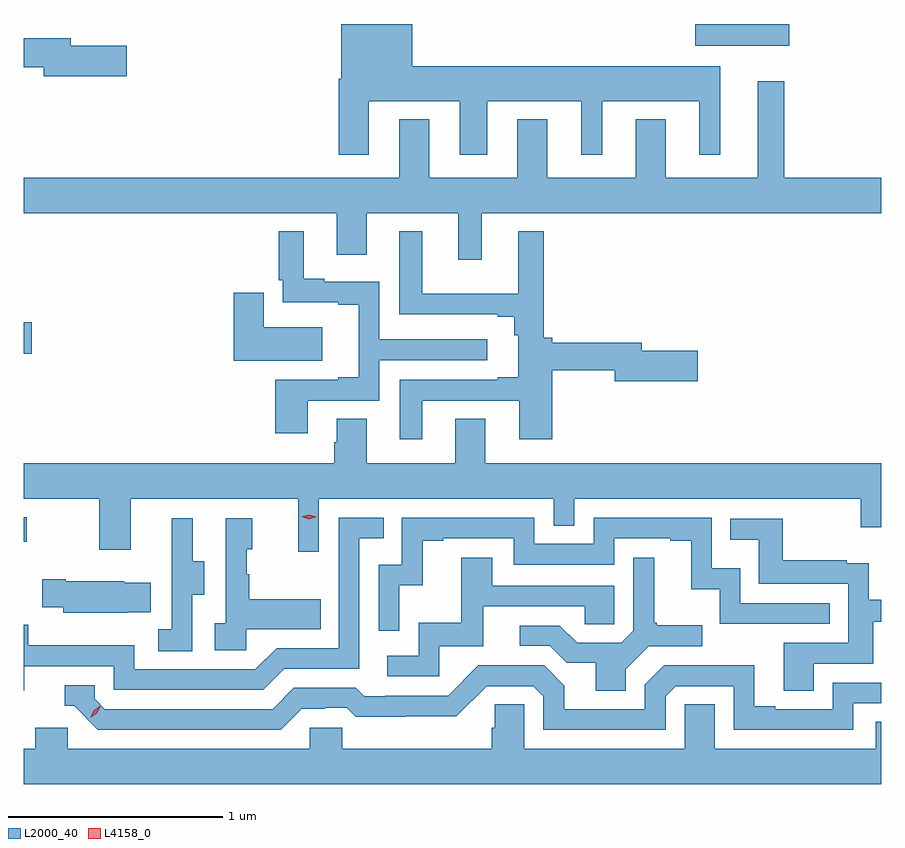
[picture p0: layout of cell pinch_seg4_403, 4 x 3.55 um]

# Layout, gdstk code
import gdstk
lib = gdstk.Library(unit=1e-6, precision=1e-09)
def R(c, l, rs):  # rectangles x0, y0, x1, y1
    for r in rs: c.add(gdstk.rectangle(r[:2], r[2:], *l))
def P(c, l, *ps):  # polygons
    for p in ps: c.add(gdstk.Polygon(p, *l))
L2000_40 = (2000, 40)
L4158_0 = (4158, 0)

pinch_seg4_403 = lib.new_cell('pinch_seg4_403')
R(pinch_seg4_403, L2000_40, [(997.752,789.959,997.765,790.072), (997.752,790.835,997.789,790.982), (1000.884,792.272,1001.323,792.374)])
P(pinch_seg4_403, L2000_40, [(999.361,792.014),(999.785,792.014),(999.785,791.763),(999.913,791.763),(999.913,792.014),(1000.352,792.014),(1000.352,791.763),(1000.45,791.763),(1000.45,792.014),(1000.904,792.014),(1000.904,791.763),(1001.002,791.763),(1001.002,792.178),(999.565,792.178),(999.565,792.374),(999.233,792.374),(999.233,792.118),(999.221,792.118),(999.221,791.763),(999.361,791.763)],
  [(998.233,792.272),(997.972,792.272),(997.972,792.308),(997.752,792.308),(997.752,792.172),(997.844,792.172),(997.844,792.13),(998.233,792.13)],
  [(999.889,791.492),(1001.752,791.492),(1001.752,791.656),(1001.299,791.656),(1001.299,792.106),(1001.177,792.106),(1001.177,791.656),(1000.747,791.656),(1000.747,791.929),(1000.607,791.929),(1000.607,791.656),(1000.195,791.656),(1000.195,791.929),(1000.055,791.929),(1000.055,791.656),(999.643,791.656),(999.643,791.929),(999.503,791.929),(999.503,791.656),(997.752,791.656),(997.752,791.492),(999.212,791.492),(999.212,791.298),(999.352,791.298),(999.352,791.492),(999.779,791.492),(999.779,791.274),(999.889,791.274)],
  [(999.61,790.617),(1000.064,790.617),(1000.064,790.437),(1000.217,790.437),(1000.217,790.758),(1000.508,790.758),(1000.508,790.708),(1000.897,790.708),(1000.897,790.85),(1000.636,790.85),(1000.636,790.886),(1000.217,790.886),(1000.217,790.91),(1000.177,790.91),(1000.177,791.407),(1000.058,791.407),(1000.058,791.116),(999.61,791.116),(999.61,791.407),(999.503,791.407),(999.503,791.019),(999.962,791.019),(999.962,791.007),(1000.041,791.007),(1000.041,790.922),(1000.058,790.922),(1000.058,790.726),(999.962,790.726),(999.962,790.713),(999.506,790.713),(999.506,790.437),(999.61,790.437)],
  [(999.076,790.617),(999.411,790.617),(999.411,790.806),(999.913,790.806),(999.913,790.902),(999.411,790.902),(999.411,791.172),(999.154,791.172),(999.154,791.185),(999.058,791.185),(999.058,791.407),(998.941,791.407),(998.941,791.179),(998.961,791.179),(998.961,791.076),(999.218,791.076),(999.218,791.064),(999.314,791.064),(999.314,790.726),(999.218,790.726),(999.218,790.713),(998.924,790.713),(998.924,790.464),(999.076,790.464)],
  [(999.145,790.96),(998.872,790.96),(998.872,791.119),(998.732,791.119),(998.732,790.802),(999.145,790.802)],
  [(999.904,790.532),(999.764,790.532),(999.764,790.324),(999.352,790.324),(999.352,790.532),(999.212,790.532),(999.212,790.422),(999.2,790.422),(999.2,790.324),(997.752,790.324),(997.752,790.16),(998.104,790.16),(998.104,789.921),(998.251,789.921),(998.251,790.16),(999.032,790.16),(999.032,789.912),(999.129,789.912),(999.129,790.16),(1000.224,790.16),(1000.224,790.033),(1000.32,790.033),(1000.32,790.16),(1001.656,790.16),(1001.656,790.025),(1001.752,790.025),(1001.752,790.324),(999.904,790.324)],
  [(999.504,789.755),(999.614,789.755),(999.614,789.963),(999.709,789.963),(999.709,789.975),(1000.038,789.975),(1000.038,789.852),(1000.506,789.852),(1000.506,789.975),(1000.769,789.975),(1000.769,789.963),(1000.865,789.963),(1000.865,789.737),(1000.998,789.737),(1000.998,789.576),(1001.513,789.576),(1001.513,789.672),(1001.094,789.672),(1001.094,789.835),(1000.962,789.835),(1000.962,790.071),(1000.41,790.071),(1000.41,789.948),(1000.134,789.948),(1000.134,790.071),(999.516,790.071),(999.516,789.852),(999.408,789.852),(999.408,789.543),(999.504,789.543)],
  [(997.754,789.378),(998.172,789.378),(998.172,789.267),(998.869,789.267),(998.968,789.366),(999.318,789.366),(999.318,789.975),(999.431,789.975),(999.431,790.071),(999.222,790.071),(999.222,789.462),(998.931,789.462),(998.832,789.363),(998.268,789.363),(998.268,789.475),(997.772,789.475),(997.772,789.571),(997.752,789.571),(997.752,789.262),(997.754,789.262)],
  [(998.79,789.551),(999.137,789.551),(999.137,789.691),(998.803,789.691),(998.803,789.806),(998.793,789.806),(998.793,789.924),(998.818,789.924),(998.818,790.069),(998.694,790.069),(998.694,789.578),(998.643,789.578),(998.643,789.453),(998.79,789.453)],
  [(998.538,789.712),(998.593,789.712),(998.593,789.867),(998.539,789.867),(998.539,790.069),(998.441,790.069),(998.441,789.855),(998.442,789.855),(998.442,789.551),(998.379,789.551),(998.379,789.448),(998.538,789.448)],
  [(1001.437,789.39),(1001.714,789.39),(1001.714,789.586),(1001.752,789.586),(1001.752,789.687),(1001.694,789.687),(1001.694,789.859),(1001.591,789.859),(1001.591,789.871),(1001.293,789.871),(1001.293,790.065),(1001.047,790.065),(1001.047,789.968),(1001.182,789.968),(1001.182,789.762),(1001.598,789.762),(1001.598,789.486),(1001.297,789.486),(1001.297,789.262),(1001.437,789.262)],
  [(1000.561,789.364),(1000.668,789.471),(1000.918,789.471),(1000.918,789.568),(1000.705,789.568),(1000.705,789.58),(1000.693,789.58),(1000.693,789.883),(1000.596,789.883),(1000.596,789.543),(1000.539,789.486),(1000.333,789.486),(1000.252,789.567),(1000.065,789.567),(1000.065,789.474),(1000.206,789.474),(1000.286,789.394),(1000.421,789.394),(1000.421,789.262),(1000.561,789.262)],
  [(999.69,789.471),(999.895,789.471),(999.895,789.657),(1000.369,789.657),(1000.369,789.573),(1000.506,789.573),(1000.506,789.753),(999.937,789.753),(999.937,789.883),(999.793,789.883),(999.793,789.58),(999.594,789.58),(999.594,789.426),(999.447,789.426),(999.447,789.33),(999.69,789.33)],
  [(998.237,789.629),(998.345,789.629),(998.345,789.766),(998.22,789.766),(998.22,789.775),(997.948,789.775),(997.948,789.783),(997.837,789.783),(997.837,789.653),(997.935,789.653),(997.935,789.626),(998.237,789.626)],
  [(999.049,789.18),(999.156,789.18),(999.156,789.183),(999.259,789.183),(999.301,789.141),(999.534,789.141),(999.534,789.143),(999.77,789.143),(999.912,789.285),(1000.128,789.285),(1000.176,789.237),(1000.176,789.081),(1000.746,789.081),(1000.746,789.237),(1000.794,789.285),(1001.064,789.285),(1001.064,789.081),(1001.622,789.081),(1001.622,789.204),(1001.752,789.204),(1001.752,789.3),(1001.526,789.3),(1001.526,789.177),(1001.257,789.177),(1001.257,789.19),(1001.161,789.19),(1001.161,789.383),(1000.956,789.383),(1000.956,789.381),(1000.74,789.381),(1000.65,789.291),(1000.65,789.177),(1000.273,789.177),(1000.273,789.287),(1000.179,789.381),(999.873,789.381),(999.732,789.24),(999.439,789.24),(999.439,789.237),(999.34,789.237),(999.301,789.276),(999.012,789.276),(998.913,789.177),(998.13,789.177),(998.082,789.225),(998.082,789.288),(997.943,789.288),(997.943,789.192),(997.986,789.192),(998.097,789.081),(998.95,789.081)],
  [(1001.752,789.119),(1001.727,789.119),(1001.727,788.992),(1000.975,788.992),(1000.975,789.2),(1000.836,789.2),(1000.836,788.992),(1000.086,788.992),(1000.086,789.2),(999.949,789.2),(999.949,789.09),(999.935,789.09),(999.935,788.992),(999.237,788.992),(999.237,789.09),(999.087,789.09),(999.087,788.992),(997.956,788.992),(997.956,789.09),(997.805,789.09),(997.805,788.992),(997.752,788.992),(997.752,788.828),(1001.752,788.828)])
P(pinch_seg4_403, L4158_0, [(999.082,790.064),(999.046,790.074),(999.046,790.074),(999.046,790.074),(999.082,790.084),(999.118,790.074),(999.118,790.074),(999.118,790.074)],
  [(998.061,789.137),(998.061,789.137),(998.077,789.17),(998.107,789.19),(998.108,789.19),(998.108,789.189),(998.092,789.157),(998.061,789.137)])

lib.write_gds('pinch_seg4_403.gds')
